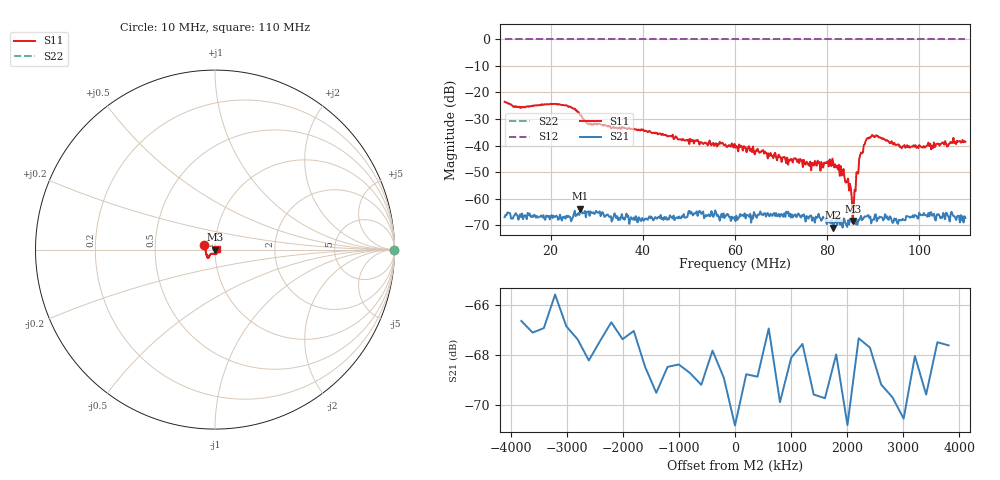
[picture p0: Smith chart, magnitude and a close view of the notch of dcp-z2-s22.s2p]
! Anritsu VNA Master:  Model: MS2034B/10/19/501
! SN:  1337062
! /bd0/ovro-jan-2016/dcp-z2-s22.s2p
! Existing Calibration Information:
! TYPE:  Current Settings,  Active Cal Settings
! TIME:  01/08/2016 09:32:04 PM,  01/08/2016 08:43:08 PM
! INTERNAL TEMP:  42.5 C,  45.0 C
! # POINTS:  500,  500
! START FREQ:  10.000 MHz,  10.000 MHz
! STOP FREQ:  110.000 MHz,  110.000 MHz
! SOURCE POWER:  Low,  Low
! IFBW:  100 Hz,  100 Hz
! AVG FACTOR:  3 ,  3
! REF PLANE 1:  2.2245 m,  2.2245 m
! REF PLANE 2:  0 mm,  0 mm
! CAL TYPE:  1P2P S11,S21,  1P2P S11,S21
! CAL METHOD:  SOLT,  SOLT
! CAL LINE TYPE:  Coax,  Coax
! DUT PORT 1:  K-Conn(M),  K-Conn(M)
! DUT PORT 2:  N-Conn(M),  N-Conn(M)
! CAL STATUS:  OK: Accuracy High,  --
# GHZ S DB R 50.0
! FREQ.GHZ  S11DB  S11A  S21DB  S21A  S12DB  S12A  S22DB  S22A
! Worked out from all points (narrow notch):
!   500 points, 10 MHz to 110 MHz, reference 50 ohm
!   highest |S21| = -63.70 dB at 26.43 MHz (marker M1); lowest = -70.8 dB at 81.34 MHz (marker M2)
!   notch at M2: 4.2 dB deep, 646 kHz wide at half that depth
!   lowest |S11| = -68.3 dB at 85.55 MHz (marker M3), VSWR 1.00, Z = 50 - j0.0385 ohm
!   |S11| at or under -10 dB: start of sweep to end of sweep
!   |S22| runs from 0.0 to 0.0 dB; largest |S21 - S12| = 1
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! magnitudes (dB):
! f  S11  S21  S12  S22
! 10 MHz  -23.5  -66.9  0.0  0.0
! 23.03 MHz  -24.9  -66.6  0.0  0.0
! 26.43 MHz  -28.5  -63.7  0.0  0.0
! 26.83 MHz  -29.3  -65.5  0.0  0.0
! 28.44 MHz  -31.8  -66.4  0.0  0.0
! 37.45 MHz  -33.7  -66.9  0.0  0.0
! 43.47 MHz  -35.6  -66.7  0.0  0.0
! 52.69 MHz  -38.8  -65.7  0.0  0.0
! 60.1 MHz  -40.8  -68.4  0.0  0.0
! 71.52 MHz  -47.2  -64.8  0.0  0.0
! 76.73 MHz  -46.5  -68.3  0.0  0.0
! 81.34 MHz  -46.6  -70.8  0.0  0.0
! 84.75 MHz  -56.9  -69.6  0.0  0.0
! 85.55 MHz  -68.3  -69.1  0.0  0.0
! 85.95 MHz  -56.6  -68.3  0.0  0.0
! 86.75 MHz  -50.5  -67.8  0.0  0.0
! 88.36 MHz  -38.3  -66.6  0.0  0.0
! 90.16 MHz  -36.8  -67.8  0.0  0.0
! 93.37 MHz  -38.4  -67.9  0.0  0.0
! 95.57 MHz  -39.6  -67.9  0.0  0.0
! 101 MHz  -40.2  -65.3  0.0  0.0
! 110 MHz  -38.5  -67.2  0.0  0.0
